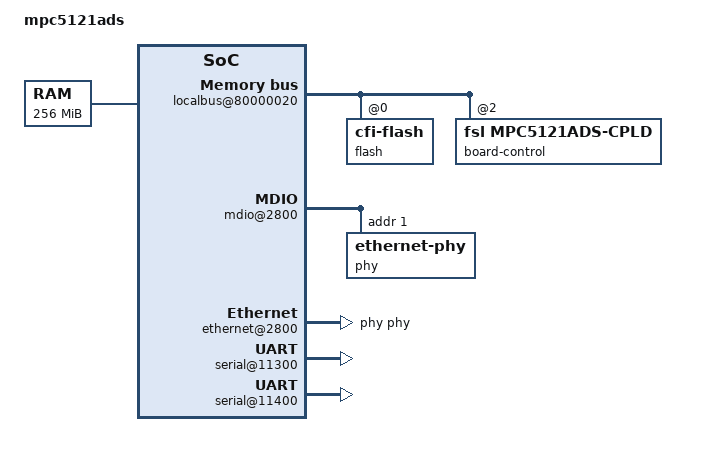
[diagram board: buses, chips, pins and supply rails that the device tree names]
/*
 * MPC5121E MDS Device Tree Source
 *
 * Copyright 2007,2008 Freescale Semiconductor Inc.
 *
 * This program is free software; you can redistribute  it and/or modify it
 * under  the terms of  the GNU General  Public License as published by the
 * Free Software Foundation;  either version 2 of the  License, or (at your
 * option) any later version.
 */

/dts-v1/;

/ {
	model = "mpc5121ads";
	compatible = "fsl,mpc5121ads";
	#address-cells = <1>;
	#size-cells = <1>;

	cpus {
		#address-cells = <1>;
		#size-cells = <0>;

		PowerPC,5121@0 {
			device_type = "cpu";
			reg = <0>;
			d-cache-line-size = <0x20>;	// 32 bytes
			i-cache-line-size = <0x20>;	// 32 bytes
			d-cache-size = <0x8000>;	// L1, 32K
			i-cache-size = <0x8000>;	// L1, 32K
			timebase-frequency = <49500000>;// 49.5 MHz (csb/4)
			bus-frequency = <198000000>;	// 198 MHz csb bus
			clock-frequency = <396000000>;	// 396 MHz ppc core
		};
	};

	memory {
		device_type = "memory";
		reg = <0x00000000 0x10000000>;	// 256MB at 0
	};

	localbus@80000020 {
		compatible = "fsl,mpc5121ads-localbus";
		#address-cells = <2>;
		#size-cells = <1>;
		reg = <0x80000020 0x40>;

		ranges = <0x0 0x0 0xfc000000 0x04000000
			  0x2 0x0 0x82000000 0x00008000>;

		flash@0,0 {
			compatible = "cfi-flash";
			reg = <0 0x0 0x4000000>;
			#address-cells = <1>;
			#size-cells = <1>;
			bank-width = <4>;
			device-width = <2>;
			protected@0 {
				label = "protected";
				reg = <0x00000000 0x00040000>;  // first sector is protected
				read-only;
			};
			filesystem@40000 {
				label = "filesystem";
				reg = <0x00040000 0x03c00000>;  // 60M for filesystem
			};
			kernel@3c40000 {
				label = "kernel";
				reg = <0x03c40000 0x00280000>;  // 2.5M for kernel
			};
			device-tree@3ec0000 {
				label = "device-tree";
				reg = <0x03ec0000 0x00040000>;  // one sector for device tree
			};
			u-boot@3f00000 {
				label = "u-boot";
				reg = <0x03f00000 0x00100000>;  // 1M for u-boot
				read-only;
			};
		};

		board-control@2,0 {
			compatible = "fsl,mpc5121ads-cpld";
			reg = <0x2 0x0 0x8000>;
		};
	};

	soc@80000000 {
		compatible = "fsl,mpc5121-immr";
		#address-cells = <1>;
		#size-cells = <1>;
		#interrupt-cells = <2>;
		ranges = <0x0 0x80000000 0x400000>;
		reg = <0x80000000 0x400000>;
		bus-frequency = <66000000>;	// 66 MHz ips bus


		// IPIC
		// interrupts cell = <intr #, sense>
		// sense values match linux IORESOURCE_IRQ_* defines:
		// sense == 8: Level, low assertion
		// sense == 2: Edge, high-to-low change
		//
		ipic: interrupt-controller@c00 {
			compatible = "fsl,mpc5121-ipic", "fsl,ipic";
			interrupt-controller;
			#address-cells = <0>;
			#interrupt-cells = <2>;
			reg = <0xc00 0x100>;
		};

		clock@f00 {	// Clock control
			compatible = "fsl,mpc5121-clock";
			reg = <0xf00 0x100>;
		};

		diu@2100 {
			device_type = "display";
			compatible = "fsl-diu";
			reg = <0x2100 0x100>;
			interrupts = <64 0x8>;
			interrupt-parent = < &ipic >;
			clk-name = "diu_clk";
			clk-parent = "ips_clk";
			clk-ctrl = <1 0x1f>; // sccr2 bit 31
		};

		mdio@2800 {
			device_type = "mdio";
			compatible = "fsl,mpc5121-fec-mdio";
			reg = <0x2800 0x800>;
			#address-cells = <1>;
			#size-cells = <0>;
			phy: ethernet-phy@0 {
				reg = <1>;
				device_type = "ethernet-phy";
			};
		};

		ethernet@2800 {
			device_type = "network";
			compatible = "fsl,mpc5121-fec";
			reg = <0x2800 0x800>;
			local-mac-address = [ 00 00 00 00 00 00 ];
			interrupts = <4 0x8>;
			interrupt-parent = < &ipic >;
			phy-handle = < &phy >;
		};

		// 512x PSCs are not 52xx PSCs compatible
		// PSC3 serial port A aka ttyPSC0
		serial@11300 {
			device_type = "serial";
			compatible = "fsl,mpc5121-psc-uart", "fsl,mpc5121-psc";
			// Logical port assignment needed until driver
			// learns to use aliases
			port-number = <0>;
			cell-index = <3>;
			reg = <0x11300 0x100>;
			interrupts = <40 0x8>; // actually the fifo irq
			interrupt-parent = < &ipic >;
		};

		// PSC4 serial port B aka ttyPSC1
		serial@11400 {
			device_type = "serial";
			compatible = "fsl,mpc5121-psc-uart", "fsl,mpc5121-psc";
			// Logical port assignment needed until driver
			// learns to use aliases
			port-number = <1>;
			cell-index = <4>;
			reg = <0x11400 0x100>;
			interrupts = <40 0x8>; // actually the fifo irq
			interrupt-parent = < &ipic >;
		};

		// PSC5 in ac97 mode
		ac97@11500 {
			device_type = "sound";
			compatible = "fsl,mpc5121-psc-ac97", "fsl,mpc5121-psc";
			cell-index = <5>;
			reg = <0x11500 0x100>;
			interrupts = <40 0x8>;
			interrupt-parent = < &ipic >;
		};

		pscfifo@11f00 {
			compatible = "fsl,mpc5121-psc-fifo";
			reg = <0x11f00 0x100>;
			interrupts = <40 0x8>;
			interrupt-parent = < &ipic >;
		};

		dma2@14000 {
			compatible = "mpc512x-dma2";
			reg = <0x14000 0x1800>;
			interrupts = <65 0x8>;
			interrupt-parent = < &ipic >;
		};
	};
};
